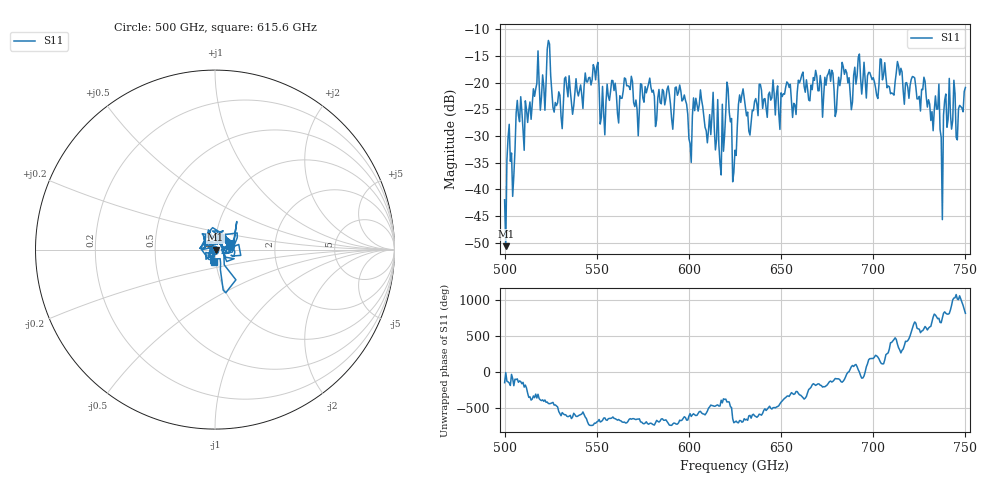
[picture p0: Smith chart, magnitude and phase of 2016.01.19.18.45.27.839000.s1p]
!Created with skrf (http://scikit-rf.org).
# GHz S RI R 50.0
!freq ReS11 ImS11
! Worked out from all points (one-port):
!   401 points, 500 GHz to 750 GHz, reference 50 ohm
!   lowest |S11| = -50.6 dB at 500.6 GHz (marker M1), VSWR 1.01, Z = 50.3 - j0.0408 ohm
!   |S11| at or under -10 dB: start of sweep to end of sweep
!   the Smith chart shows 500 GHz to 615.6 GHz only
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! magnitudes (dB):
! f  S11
! 500 GHz  -42.0
! 500.6 GHz  -50.6
! 507.5 GHz  -26.2
! 520.6 GHz  -18.6
! 523.8 GHz  -12.1
! 526.9 GHz  -25.5
! 531.2 GHz  -28.6
! 549.4 GHz  -19.5
! 553.1 GHz  -20.7
! 558.8 GHz  -19.6
! 562.5 GHz  -22.5
! 593.8 GHz  -22.4
! 600.6 GHz  -31.4
! 606.2 GHz  -21.4
! 617.5 GHz  -37.3
! 621.2 GHz  -21.2
! 625 GHz  -32.7
! 628.8 GHz  -22.2
! 632.5 GHz  -29.1
! 656.2 GHz  -26.5
! 684.4 GHz  -18.5
! 687.5 GHz  -22.0
! 691.2 GHz  -18.7
! 718.8 GHz  -20.9
! 734.4 GHz  -25.0
! 737.5 GHz  -45.7
! 740 GHz  -28.4
! 750 GHz  -20.9
